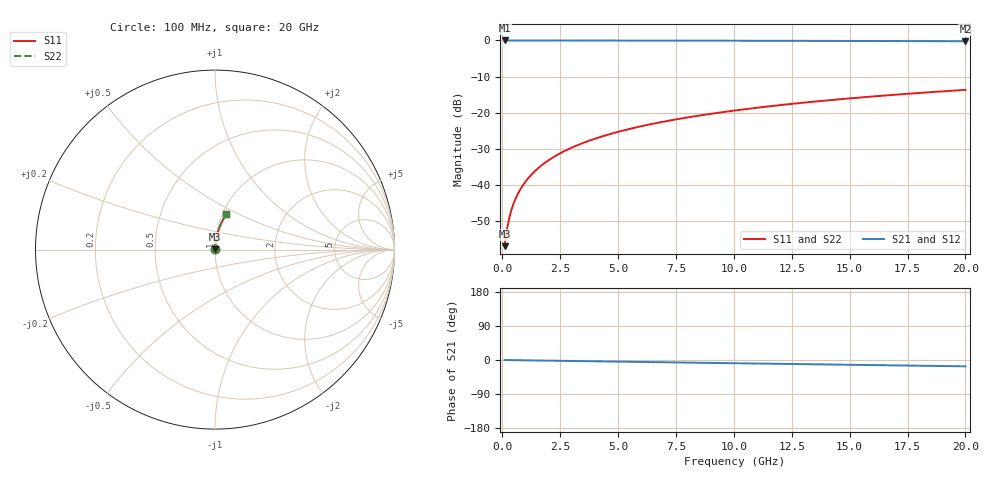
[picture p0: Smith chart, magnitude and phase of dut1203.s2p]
! Touchstone file exported from HFSS 2026.1.0
!  File:  C:/ffzhzh/LocalFiles/Ansys_Project_Files/temp_train_TMRDL_1203_1783163007_18472.aedt
!  Generated:  07:04:48 PM Jul  4, 2026
!  Design:  TMRDL
!  Project:  temp_train_TMRDL_1203_1783163007_18472
! Variables:
!  h_bsmrdl = 2um
!  h_ox = 20um
!  h_rdl = 5um
!  h_sub = 80um
!  h_tmrdl = 4.99um
!  h_tsv = 80um
!  h_via = 3um
!  l_bsmrdl = 300um
!  l_sub = 567.96um
!  l_tmrdl = 167.96um
!  m_sub = 200um
!  pitch = 59.41um
!  r_tsv = 6um
!  s_tmrdl = 10um
!  w_bsmrdl = 18um
!  w_sub = 500um
!  w_tmrdl = 16.3um
!  x_tsv_center1 = 176.11um
!  x_tsv_center2 = 494.11um
!  x_tsv_center3 = 678.37um
!  x_tsv_center4 = 996.37um
!  x_tsv_center5 = 1180.63um
!  x_tsv_center6 = 1498.63um
# GHz S MA R 50.000000
! Terminal data exported
! Port[1] = TM_RDL1_1_T1
! Port[2] = TM_RDL1_1_T2
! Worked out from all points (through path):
!   200 points, 100 MHz to 20 GHz, reference 50 ohm
!   highest |S21| = -0.01 dB at 100 MHz (marker M1); lowest = -0.2 dB at 20 GHz (marker M2)
!   group delay of S21, straight-line fit = 2.32 ps
!   lowest |S11| = -56.9 dB at 100 MHz (marker M3), VSWR 1.00, Z = 50.1 + j0.115 ohm
!   |S11| at or under -10 dB: start of sweep to end of sweep
!   |S22| runs from -56.9 to -13.7 dB; largest |S21 - S12| = 3.1e-15
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0.1  0.001431 53.0  0.9991 -0.1  0.9991 -0.1  0.001431 53.0
! Gamma 0 0 0 0
! Port Impedance 50 0 50 0
0.2  0.002443 68.6  0.9991 -0.2  0.9991 -0.2  0.002443 68.6
0.3  0.003515 74.6  0.9991 -0.3  0.9991 -0.3  0.003515 74.6
0.4  0.004598 77.8  0.999 -0.4  0.999 -0.4  0.004598 77.8
0.5  0.005684 79.8  0.999 -0.4  0.999 -0.4  0.005684 79.8
0.7  0.007862 82.1  0.999 -0.6  0.999 -0.6  0.007862 82.1
0.8  0.008953 82.8  0.9989 -0.7  0.9989 -0.7  0.008953 82.8
1  0.01114 83.7  0.9989 -0.9  0.9989 -0.9  0.01114 83.7
1.2  0.01333 84.3  0.9988 -1.0  0.9988 -1.0  0.01333 84.3
1.4  0.01552 84.7  0.9987 -1.2  0.9987 -1.2  0.01552 84.7
1.7  0.0188 85.0  0.9986 -1.5  0.9986 -1.5  0.0188 85.0
2  0.02208 85.1  0.9985 -1.7  0.9985 -1.7  0.02208 85.1
2.7  0.02971 85.1  0.9982 -2.3  0.9982 -2.3  0.02971 85.1
3.5  0.03838 84.7  0.9977 -3.0  0.9977 -3.0  0.03838 84.7
4.2  0.04592 84.3  0.9972 -3.6  0.9972 -3.6  0.04592 84.3
5  0.05449 83.7  0.9966 -4.3  0.9966 -4.3  0.05449 83.7
6.8  0.07359 82.4  0.995 -5.8  0.995 -5.8  0.07359 82.4
8.3  0.08933 81.2  0.9934 -7.1  0.9934 -7.1  0.08933 81.2
10.1  0.1081 79.9  0.9913 -8.6  0.9913 -8.6  0.1081 79.9
13.4  0.1419 77.3  0.9866 -11.3  0.9866 -11.3  0.1419 77.3
16.7  0.175 74.7  0.9809 -14.0  0.9809 -14.0  0.175 74.7
20  0.2072 72.2  0.9743 -16.7  0.9743 -16.7  0.2072 72.2
